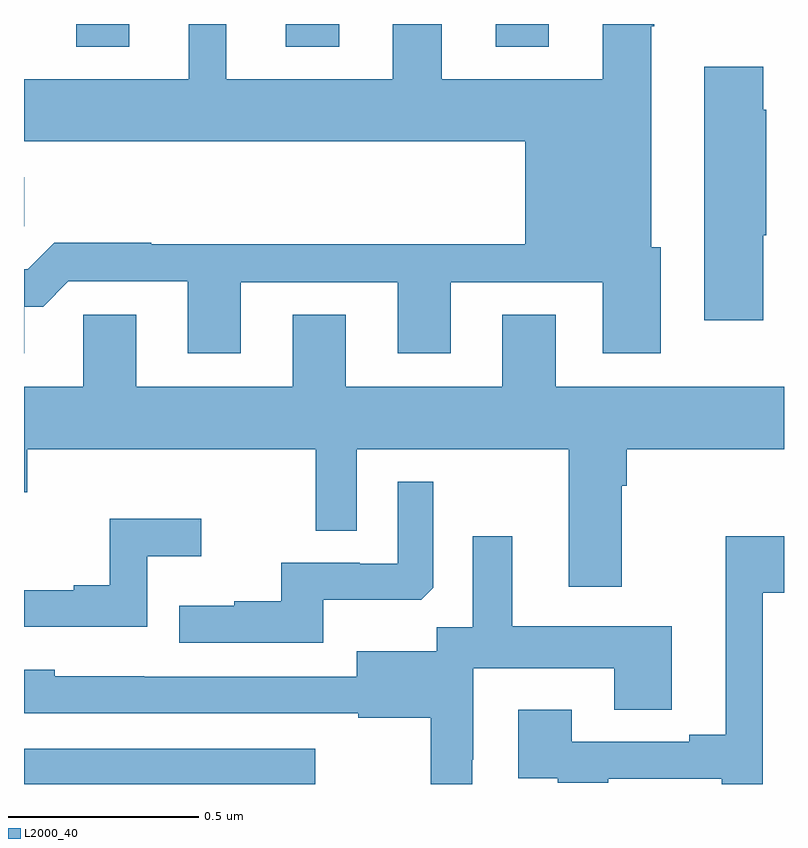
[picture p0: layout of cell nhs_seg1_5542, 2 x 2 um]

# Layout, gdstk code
import gdstk
lib = gdstk.Library(unit=1e-6, precision=1e-09)
def R(c, l, rs):  # rectangles x0, y0, x1, y1
    for r in rs: c.add(gdstk.rectangle(r[:2], r[2:], *l))
def A(c, l, x, y, w, h, nx, ny, dx, dy):  # array of equal rectangles
    R(c, l, [(x+i*dx, y+j*dy, x+i*dx+w, y+j*dy+h) for i in range(nx) for j in range(ny)])
def P(c, l, *ps):  # polygons
    for p in ps: c.add(gdstk.Polygon(p, *l))
L2000_40 = (2000, 40)

nhs_seg1_5542 = lib.new_cell('nhs_seg1_5542')
A(nhs_seg1_5542, L2000_40, 180.137, 538.139, 0.14, 0.06, 3, 1, 0.552, 0)
R(nhs_seg1_5542, L2000_40, [(180,536.199,180.766,536.292), (180,537.667,180.001,537.796)])
P(nhs_seg1_5542, L2000_40, [(180.001,537.455),(180.05,537.455),(180.117,537.522),(180.431,537.522),(180.431,537.333),(180.571,537.333),(180.571,537.519),(180.983,537.519),(180.983,537.333),(181.123,537.333),(181.123,537.519),(181.523,537.519),(181.523,537.333),(181.675,537.333),(181.675,537.612),(181.651,537.612),(181.651,538.193),(181.659,538.193),(181.659,538.199),(181.523,538.199),(181.523,538.054),(181.099,538.054),(181.099,538.199),(180.971,538.199),(180.971,538.054),(180.532,538.054),(180.532,538.199),(180.434,538.199),(180.434,538.054),(180,538.054),(180,537.89),(181.319,537.89),(181.319,537.62),(180.335,537.62),(180.335,537.623),(180.08,537.623),(180.01,537.553),(180,537.553),(180,537.333),(180.001,537.333)],
  [(181.945,537.643),(181.953,537.643),(181.953,537.974),(181.945,537.974),(181.945,538.087),(181.79,538.087),(181.79,537.42),(181.945,537.42)],
  [(181.573,536.984),(181.586,536.984),(181.586,537.08),(182,537.08),(182,537.244),(181.399,537.244),(181.399,537.434),(181.259,537.434),(181.259,537.244),(180.847,537.244),(180.847,537.434),(180.707,537.434),(180.707,537.244),(180.295,537.244),(180.295,537.434),(180.156,537.434),(180.156,537.244),(180,537.244),(180,536.967),(180.008,536.967),(180.008,537.08),(180.768,537.08),(180.768,536.866),(180.876,536.866),(180.876,537.08),(181.433,537.08),(181.433,536.718),(181.573,536.718)],
  [(180.787,536.684),(181.045,536.684),(181.077,536.715),(181.077,536.995),(180.984,536.995),(180.984,536.778),(180.884,536.778),(180.884,536.781),(180.677,536.781),(180.677,536.68),(180.553,536.68),(180.553,536.668),(180.409,536.668),(180.409,536.571),(180.787,536.571)],
  [(180.324,536.798),(180.466,536.798),(180.466,536.897),(180.226,536.897),(180.226,536.722),(180.131,536.722),(180.131,536.709),(180,536.709),(180,536.613),(180.324,536.613)],
  [(181.18,536.263),(181.182,536.263),(181.182,536.504),(181.553,536.504),(181.553,536.395),(181.705,536.395),(181.705,536.614),(181.285,536.614),(181.285,536.851),(181.181,536.851),(181.181,536.612),(181.086,536.612),(181.086,536.548),(180.875,536.548),(180.875,536.481),(180.317,536.481),(180.317,536.482),(180.081,536.482),(180.081,536.5),(180,536.5),(180,536.385),(180.879,536.385),(180.879,536.373),(181.071,536.373),(181.071,536.199),(181.18,536.199)],
  [(181.944,536.702),(182,536.702),(182,536.851),(181.847,536.851),(181.847,536.329),(181.751,536.329),(181.751,536.31),(181.441,536.31),(181.441,536.395),(181.301,536.395),(181.301,536.214),(181.405,536.214),(181.405,536.202),(181.537,536.202),(181.537,536.213),(181.836,536.213),(181.836,536.199),(181.944,536.199)])

lib.write_gds('nhs_seg1_5542.gds')
